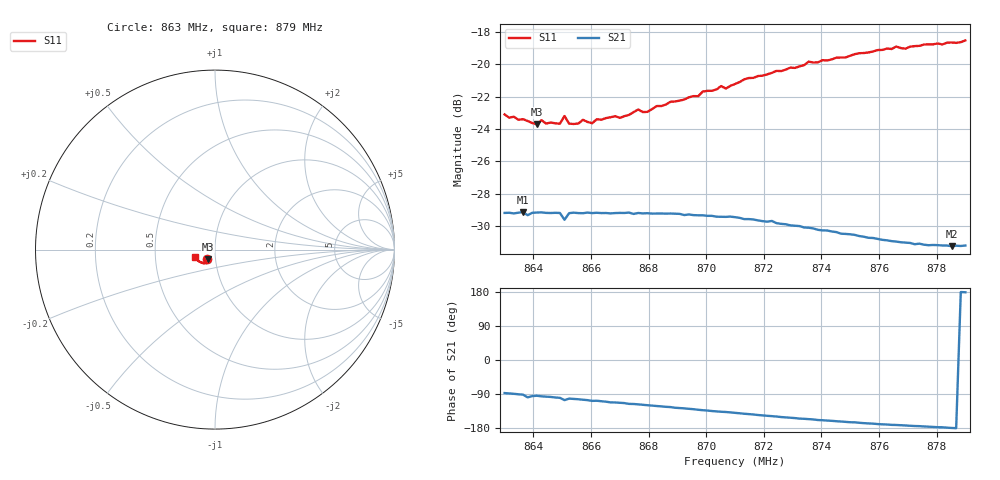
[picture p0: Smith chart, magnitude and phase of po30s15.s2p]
# HZ S RI R 50
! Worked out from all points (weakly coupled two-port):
!   101 points, 863 MHz to 879 MHz, reference 50 ohm
!   highest |S21| = -29.12 dB at 863.64 MHz (marker M1); lowest = -31.2 dB at 878.52 MHz (marker M2)
!   lowest |S11| = -23.7 dB at 864.12 MHz (marker M3), VSWR 1.14, Z = 46 - j4.85 ohm
!   |S11| at or under -10 dB: start of sweep to end of sweep
!   S12 and S22 are empty: the file has one direction only
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8.63e8  -0.0451 -0.0535  0.00166 -0.0347  0 0  0 0
8.6364e8  -0.0423 -0.0528  -0.000872 -0.035  0 0  0 0
8.638e8  -0.0414 -0.0525  -0.00512 -0.0338  0 0  0 0
8.6412e8  -0.0388 -0.0524  -0.00264 -0.0348  0 0  0 0
8.6428e8  -0.0388 -0.0549  -0.00356 -0.0347  0 0  0 0
8.6444e8  -0.0387 -0.053  -0.00407 -0.0346  0 0  0 0
8.6492e8  -0.0368 -0.0543  -0.00596 -0.0343  0 0  0 0
8.6508e8  -0.0418 -0.0552  -0.00909 -0.0319  0 0  0 0
8.6524e8  -0.0361 -0.0548  -0.00717 -0.034  0 0  0 0
8.6556e8  -0.0354 -0.0552  -0.00815 -0.0338  0 0  0 0
8.6572e8  -0.0352 -0.0575  -0.00887 -0.0336  0 0  0 0
8.6604e8  -0.0342 -0.0561  -0.0107 -0.0331  0 0  0 0
8.662e8  -0.0354 -0.0576  -0.0105 -0.0332  0 0  0 0
8.67e8  -0.0343 -0.059  -0.0135 -0.0321  0 0  0 0
8.6764e8  -0.0359 -0.063  -0.0158 -0.031  0 0  0 0
8.6796e8  -0.0341 -0.0626  -0.017 -0.0303  0 0  0 0
8.6844e8  -0.0354 -0.0653  -0.0186 -0.0293  0 0  0 0
8.71e8  -0.0467 -0.0733  -0.0256 -0.0219  0 0  0 0
8.7372e8  -0.0678 -0.0751  -0.0287 -0.0122  0 0  0 0
8.7644e8  -0.0925 -0.0621  -0.0281 -0.00436  0 0  0 0
8.7852e8  -0.1072 -0.0461  -0.0275 -0.000331  0 0  0 0
8.79e8  -0.1114 -0.04  -0.0276 0.000606  0 0  0 0
